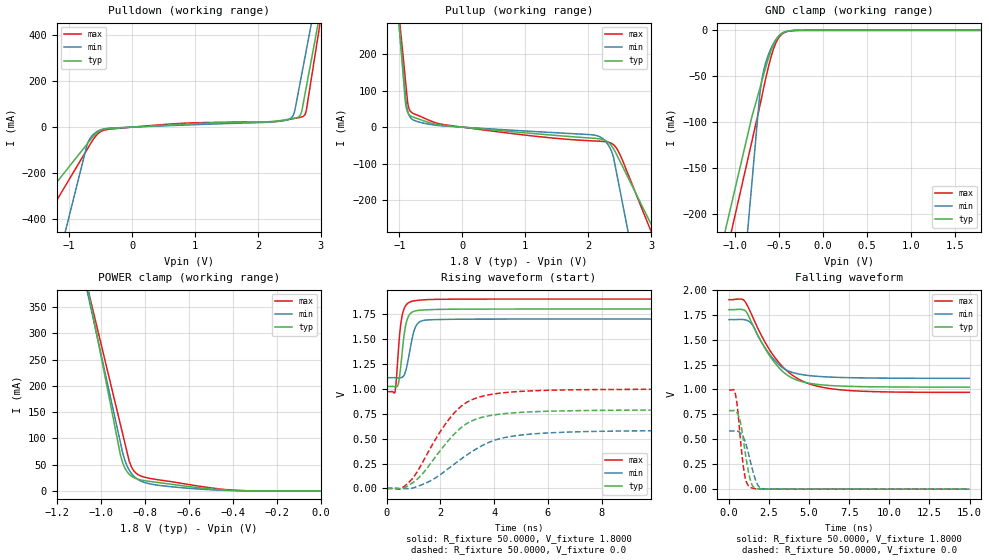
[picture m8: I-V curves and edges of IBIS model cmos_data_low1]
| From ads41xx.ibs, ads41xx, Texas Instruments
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|   Model cmos_data_low1
[Model]   cmos_data_low1
Model_type 3-state
Polarity   Non-Inverting
Enable   Active-High
Vmeas=0.9
C_comp   2.0750pF   1.9000pF   2.2500pF
[Temperature Range]   25.0000   0.1250k   -40.0000
[Voltage Range]   1.8000V   1.7000V   1.9000V
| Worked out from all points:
|   slope of the pulldown table from 0 to 0.27 V, typ, clamps not added: 61.3 ohm
|   slope of the pullup table from 0 to 0.27 V, typ, clamps not added: 62.7 ohm
|   GND clamp passes 1 mA (typ) near -0.40 V on its own axis
|   POWER clamp passes 1 mA (typ) near -0.39 V on its own axis
|   rising waveform, R_fixture 50.0000, V_fixture 1.8000: 20-80 % time 209ps typ, 267ps min, 185ps max; typ from 1.02 V to 1.8 V
|   rising waveform, R_fixture 50.0000, V_fixture 0.0: 20-80 % time 1.5ns typ, 1.97ns min, 1.45ns max; typ from 0 V to 0.787 V
|   falling waveform, R_fixture 50.0000, V_fixture 1.8000: 20-80 % time 1.87ns typ, 1.58ns min, 2.33ns max; typ from 1.8 V to 1.02 V
|   falling waveform, R_fixture 50.0000, V_fixture 0.0: 20-80 % time 473ps typ, 577ps min, 378ps max; typ from 0.787 V to 0 V
[Pulldown]
|Voltage   I(typ)   I(min)   I(max)
-1.8V     -446.2mA   -1.258A    -592.4mA
-720mV    -75.2mA    -81.71mA   -99.24mA
-640mV    -47.05mA   -39.01mA   -62.92mA
-460mV    -10.5mA    -8.223mA   -14.9mA
710mV     11.19mA    7.69mA     15.22mA
2.48V     34.06mA    32.63mA    32.37mA
2.55V     37.27mA    46.71mA    36.28mA
2.58V     38.61mA    65.94mA    37.79mA
2.67V     51.08mA    191.5mA    42.12mA
2.72V     102.4mA    263.3mA    46.79mA
2.77V     175.5mA    335mA      73.69mA
3.6V      1.39A      1.526A     1.509A
[Pullup]
|Voltage   I(typ)   I(min)   I(max)
-1.8V     1.985A     1.8A       1.7A
-910mV    78.41mA    98.35mA    140.6mA
-890mV    53.38mA    64.8mA     105.5mA
-860mV    37.57mA    39.26mA    59.46mA
-780mV    27.41mA    19.76mA    37.54mA
-260mV    4.234mA    2.841mA    6.131mA
2.16V     -31.57mA   -24.52mA   -38.3mA
2.28V     -36.75mA   -39.86mA   -39.94mA
2.38V     -53.19mA   -69.91mA   -45.29mA
2.47V     -80.69mA   -141.1mA   -62.92mA
2.55V     -108.6mA   -211.4mA   -92.55mA
3.6V      -474.3mA   -1.134A    -541.5mA
[GND_clamp]
|Voltage   I(typ)   I(min)   I(max)
-1.8V     -503.4mA   -1.249A    -541.8mA
-800mV    -92.85mA   -162.4mA   -119.5mA
-720mV    -65.72mA   -75.52mA   -85.37mA
-690mV    -55.13mA   -53.43mA   -71.78mA
-670mV    -48.11mA   -43.79mA   -62.73mA
-620mV    -31.66mA   -27.43mA   -41.38mA
-560mV    -15.91mA   -14.53mA   -20.65mA
-520mV    -8.804mA   -8.629mA   -11.32mA
-470mV    -3.672mA   -3.929mA   -4.772mA
-390mV    -710.2uA   -818.1uA   -1.01mA
-280mV    -32.94uA   -54.05uA   -57.7uA
1.8V      5.757nA    95.41nA    1.717nA
[POWER_clamp]
|Voltage   I(typ)   I(min)   I(max)
-1.8V     1.973A     1.793A     1.681A
-1.09V    453.9mA    436.2mA    440.9mA
-1.05V    368.3mA    359.7mA    371.1mA
-910mV    68.83mA    92.21mA    126.6mA
-890mV    43.87mA    58.68mA    91.62mA
-870mV    31.74mA    39.51mA    56.69mA
-860mV    28.17mA    33.2mA     45.72mA
-840mV    23.7mA     24.62mA    34.17mA
-800mV    19.54mA    16.1mA     26.14mA
-490mV    3.546mA    2.034mA    5.283mA
-340mV    343.4uA    193uA      468.4uA
0V        5.757nA    -261.2nA   2.433nA
[Ramp]
| variable   typ   min   max
dV/dt_r  0.4725/1.5002n   0.3499/1.9682n   0.5971/1.4496n
dV/dt_f  0.4662/1.8736n   0.3533/1.5769n   0.5577/2.3287n
R_load = 50.0000
[Rising Waveform]
R_fixture= 50.0000
V_fixture= 1.8000
V_fixture_min= 1.7000
V_fixture_max= 1.9000
|time   V(typ)   V(min)   V(max)
0s        1.023V     1.111V     970.8mV
300ps     1.02V      1.111V     962.9mV
420ps     1.039V     1.109V     1.332V
510ps     1.199V     1.11V      1.624V
600ps     1.431V     1.121V     1.764V
735ps     1.672V     1.21V      1.845V
960ps     1.771V     1.522V     1.879V
1.17ns    1.786V     1.66V      1.888V
1.62ns    1.794V     1.692V     1.895V
14.99ns   1.8V       1.7V       1.9V
[Rising Waveform]
R_fixture= 50.0000
V_fixture= 0.0
V_fixture_min= 0.0
V_fixture_max= 0.0
|time   V(typ)   V(min)   V(max)
0s        782nV      33.56uV    3.016nV
480ps     -3.375mV   -62.1uV    -6.699mV
840ps     34.39mV    -2.068mV   65.27mV
1.32ns    143.9mV    38.69mV    255mV
2.445ns   525.7mV    229.9mV    736.5mV
2.955ns   647mV      330.6mV    859.7mV
3.585ns   716.2mV    434.5mV    926.7mV
4.53ns    754mV      517.7mV    964.7mV
6.135ns   775.4mV    558.6mV    985.5mV
14.99ns   787.5mV    583.2mV    995.1mV
[Falling Waveform]
R_fixture= 50.0000
V_fixture= 1.8000
V_fixture_min= 1.7000
V_fixture_max= 1.9000
|time   V(typ)   V(min)   V(max)
0s        1.8V       1.7V       1.9V
945ps     1.795V     1.7V       1.891V
1.14ns    1.763V     1.691V     1.843V
1.425ns   1.666V     1.655V     1.746V
2.235ns   1.416V     1.422V     1.478V
3.015ns   1.236V     1.262V     1.288V
3.825ns   1.124V     1.178V     1.158V
4.86ns    1.066V     1.142V     1.065V
7.785ns   1.03V      1.117V     986.3mV
14.99ns   1.023V     1.111V     970.5mV
[Falling Waveform]
R_fixture= 50.0000
V_fixture= 0.0
V_fixture_min= 0.0
V_fixture_max= 0.0
|time   V(typ)   V(min)   V(max)
0s        787.3mV    583.9mV    994.8mV
375ps     787.8mV    584.9mV    968.2mV
510ps     763.5mV    583.6mV    841mV
645ps     709.8mV    571.7mV    621.3mV
825ps     571.7mV    539mV      321.1mV
990ps     390.1mV    484.6mV    131.2mV
1.395ns   60.36mV    238.3mV    13.89mV
1.77ns    4.634mV    49.01mV    2.687mV
2.16ns    1.584mV    3.878mV    876.6uV
14.99ns   767.8nV    33.87uV    -37.44nV
